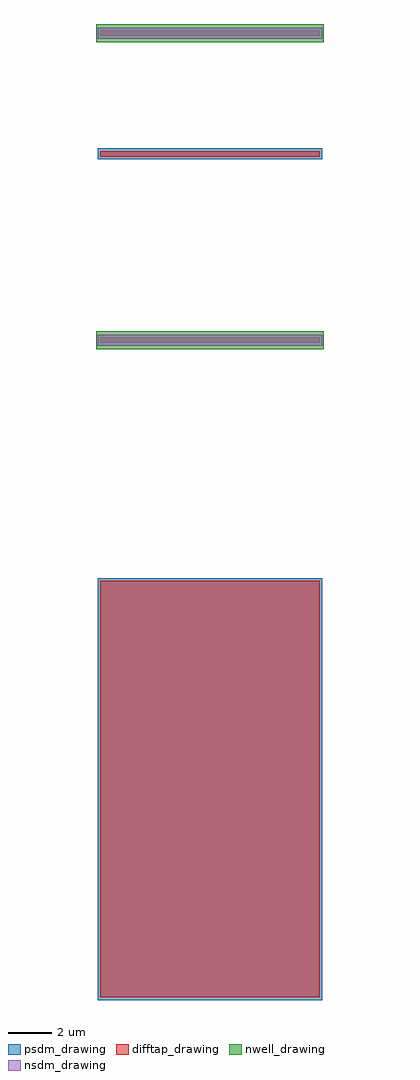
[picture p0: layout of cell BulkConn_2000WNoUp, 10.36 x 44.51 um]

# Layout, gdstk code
import gdstk
lib = gdstk.Library(unit=1e-6, precision=1e-09)
def R(c, l, rs):  # rectangles x0, y0, x1, y1
    for r in rs: c.add(gdstk.rectangle(r[:2], r[2:], *l))
nwell_drawing = (64, 20)
difftap_drawing = (65, 20)
nsdm_drawing = (93, 44)
psdm_drawing = (94, 20)

bulkconn_2000wnoup = lib.new_cell('BulkConn_2000WNoUp')
R(bulkconn_2000wnoup, nwell_drawing, [(-0.18,-0.42,10.18,0.42), (-0.18,13.58,10.18,14.42)])
R(bulkconn_2000wnoup, difftap_drawing, [(0,-29.96,10,-10.975), (0,-0.125,10,0.125), (0,8.375,10,8.625), (0,13.875,10,14.125)])
R(bulkconn_2000wnoup, nsdm_drawing, [(-0.125,-0.25,10.125,0.25), (-0.125,13.75,10.125,14.25)])
R(bulkconn_2000wnoup, psdm_drawing, [(-0.125,-30.085,10.125,-10.85), (-0.125,8.25,10.125,8.75)])

lib.write_gds('BulkConn_2000WNoUp.gds')
